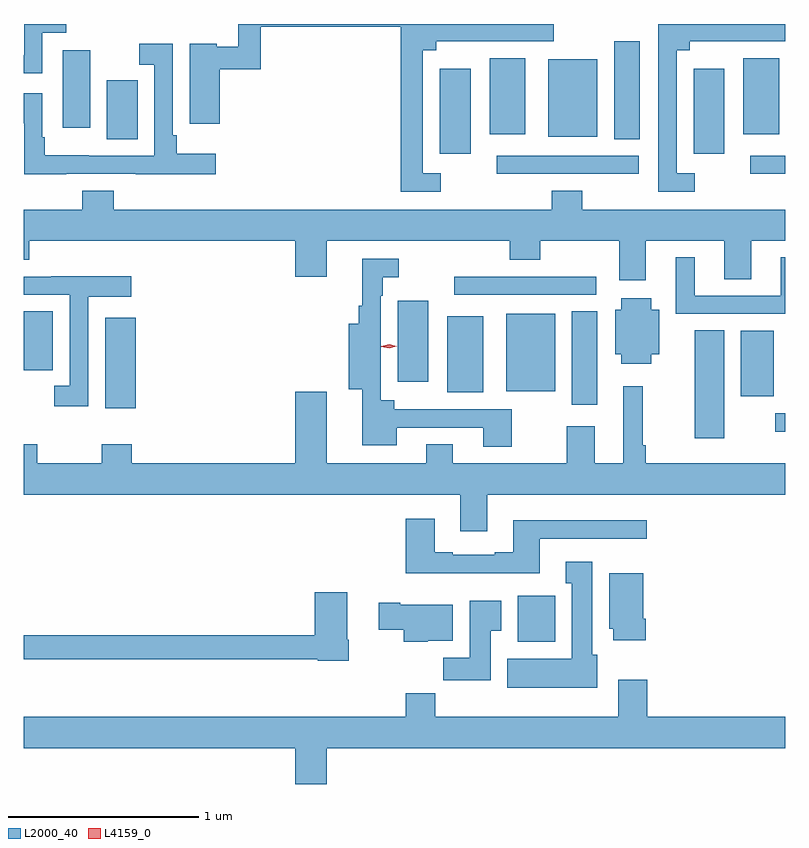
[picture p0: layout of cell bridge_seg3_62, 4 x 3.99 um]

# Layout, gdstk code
import gdstk
lib = gdstk.Library(unit=1e-6, precision=1e-09)
def R(c, l, rs):  # rectangles x0, y0, x1, y1
    for r in rs: c.add(gdstk.rectangle(r[:2], r[2:], *l))
def P(c, l, *ps):  # polygons
    for p in ps: c.add(gdstk.Polygon(p, *l))
L2000_40 = (2000, 40)
L4159_0 = (4159, 0)

bridge_seg3_62 = lib.new_cell('bridge_seg3_62')
R(bridge_seg3_62, L2000_40, [(573.767,678.83,573.964,679.072), (574.697,679.899,574.852,680.468), (575.121,679.934,575.173,680.031), (571.601,680.058,571.762,680.533), (574.052,680.076,574.186,680.567), (574.94,680.12,575.113,680.464), (573.398,680.141,573.586,680.539), (573.707,680.147,573.964,680.554), (573.137,680.196,573.298,680.623), (571.173,680.256,571.327,680.567), (573.435,680.652,574.18,680.748), (573.657,681.288,574.402,681.384), (574.989,681.288,575.173,681.384), (573.359,681.393,573.52,681.841), (574.691,681.393,574.852,681.841), (571.61,681.469,571.771,681.78), (574.274,681.469,574.408,681.985), (573.929,681.482,574.186,681.889), (573.62,681.497,573.808,681.895), (574.952,681.497,575.14,681.895), (571.379,681.531,571.522,681.937), (574.246,682.074,574.393,682.075)])
P(bridge_seg3_62, L2000_40, [(573.364,681.291),(573.27,681.291),(573.27,681.938),(573.34,681.938),(573.34,681.984),(573.957,681.984),(573.957,682.075),(572.301,682.075),(572.301,681.956),(572.187,681.956),(572.187,681.97),(572.045,681.97),(572.045,681.552),(572.204,681.552),(572.204,681.838),(572.417,681.838),(572.417,682.06),(573.154,682.06),(573.154,681.195),(573.364,681.195)],
  [(571.272,682.029),(571.396,682.029),(571.396,682.075),(571.176,682.075),(571.176,681.912),(571.173,681.912),(571.173,681.816),(571.272,681.816)],
  [(574.696,681.291),(574.602,681.291),(574.602,681.938),(574.672,681.938),(574.672,681.984),(575.173,681.984),(575.173,682.075),(574.506,682.075),(574.506,681.195),(574.696,681.195)],
  [(571.397,681.288),(571.763,681.288),(571.763,681.287),(572.182,681.287),(572.182,681.394),(571.976,681.394),(571.976,681.49),(571.956,681.49),(571.956,681.97),(571.779,681.97),(571.779,681.861),(571.86,681.861),(571.86,681.384),(571.514,681.384),(571.514,681.385),(571.285,681.385),(571.285,681.481),(571.272,681.481),(571.272,681.712),(571.173,681.712),(571.173,681.553),(571.176,681.553),(571.176,681.287),(571.397,681.287)],
  [(571.646,681.199),(571.481,681.199),(571.481,681.1),(571.173,681.1),(571.173,680.837),(571.202,680.837),(571.202,680.936),(572.6,680.936),(572.6,680.748),(572.764,680.748),(572.764,680.936),(573.725,680.936),(573.725,680.837),(573.885,680.837),(573.885,680.936),(574.301,680.936),(574.301,680.73),(574.441,680.73),(574.441,680.936),(574.853,680.936),(574.853,680.734),(574.993,680.734),(574.993,680.936),(575.173,680.936),(575.173,681.1),(574.107,681.1),(574.107,681.199),(573.947,681.199),(573.947,681.1),(571.646,681.1)],
  [(575.173,680.851),(575.15,680.851),(575.15,680.649),(574.696,680.649),(574.696,680.851),(574.598,680.851),(574.598,680.553),(575.173,680.553)],
  [(573.735,680.052),(573.118,680.052),(573.118,680.098),(573.048,680.098),(573.048,680.648),(573.06,680.648),(573.06,680.745),(573.142,680.745),(573.142,680.841),(572.951,680.841),(572.951,680.596),(572.932,680.596),(572.932,680.5),(572.879,680.5),(572.879,680.156),(572.952,680.156),(572.952,679.862),(573.133,679.862),(573.133,679.956),(573.587,679.956),(573.587,679.854),(573.735,679.854)],
  [(571.512,680.642),(571.738,680.642),(571.738,680.75),(571.319,680.75),(571.319,680.748),(571.173,680.748),(571.173,680.652),(571.416,680.652),(571.416,680.175),(571.335,680.175),(571.335,680.067),(571.512,680.067)],
  [(574.468,680.342),(574.51,680.342),(574.51,680.575),(574.468,680.575),(574.468,680.635),(574.31,680.635),(574.31,680.575),(574.28,680.575),(574.28,680.342),(574.31,680.342),(574.31,680.291),(574.468,680.291)],
  [(573.607,679.604),(575.173,679.604),(575.173,679.768),(574.439,679.768),(574.439,679.864),(574.424,679.864),(574.424,680.173),(574.322,680.173),(574.322,679.768),(574.171,679.768),(574.171,679.963),(574.024,679.963),(574.024,679.768),(573.427,679.768),(573.427,679.867),(573.287,679.867),(573.287,679.768),(572.764,679.768),(572.764,680.143),(572.6,680.143),(572.6,679.768),(571.742,679.768),(571.742,679.867),(571.582,679.867),(571.582,679.768),(571.245,679.768),(571.245,679.867),(571.173,679.867),(571.173,679.604),(573.467,679.604),(573.467,679.41),(573.607,679.41)],
  [(573.883,679.371),(574.444,679.371),(574.444,679.468),(573.743,679.468),(573.743,679.3),(573.647,679.3),(573.647,679.287),(573.427,679.287),(573.427,679.3),(573.331,679.3),(573.331,679.477),(573.179,679.477),(573.179,679.19),(573.883,679.19)],
  [(574.186,678.762),(574.159,678.762),(574.159,679.252),(574.019,679.252),(574.019,679.139),(574.052,679.139),(574.052,678.742),(573.713,678.742),(573.713,678.59),(574.186,678.59)],
  [(574.439,678.952),(574.426,678.952),(574.426,679.192),(574.247,679.192),(574.247,678.9),(574.268,678.9),(574.268,678.84),(574.439,678.84)],
  [(572.88,678.841),(572.872,678.841),(572.872,679.09),(572.702,679.09),(572.702,678.866),(571.173,678.866),(571.173,678.738),(572.718,678.738),(572.718,678.73),(572.88,678.73)],
  [(573.625,678.889),(573.682,678.889),(573.682,679.045),(573.515,679.045),(573.515,678.748),(573.376,678.748),(573.376,678.63),(573.625,678.63)],
  [(573.294,678.836),(573.427,678.836),(573.427,679.024),(573.151,679.024),(573.151,679.037),(573.039,679.037),(573.039,678.895),(573.169,678.895),(573.169,678.83),(573.294,678.83)],
  [(572.764,678.272),(575.173,678.272),(575.173,678.436),(574.448,678.436),(574.448,678.631),(574.295,678.631),(574.295,678.436),(573.335,678.436),(573.335,678.56),(573.179,678.56),(573.179,678.436),(571.173,678.436),(571.173,678.272),(572.6,678.272),(572.6,678.084),(572.764,678.084)])
P(bridge_seg3_62, L4159_0, [(573.093,680.372),(573.052,680.381),(573.052,680.381),(573.052,680.382),(573.092,680.392),(573.133,680.383),(573.133,680.383),(573.133,680.383)])

lib.write_gds('bridge_seg3_62.gds')
